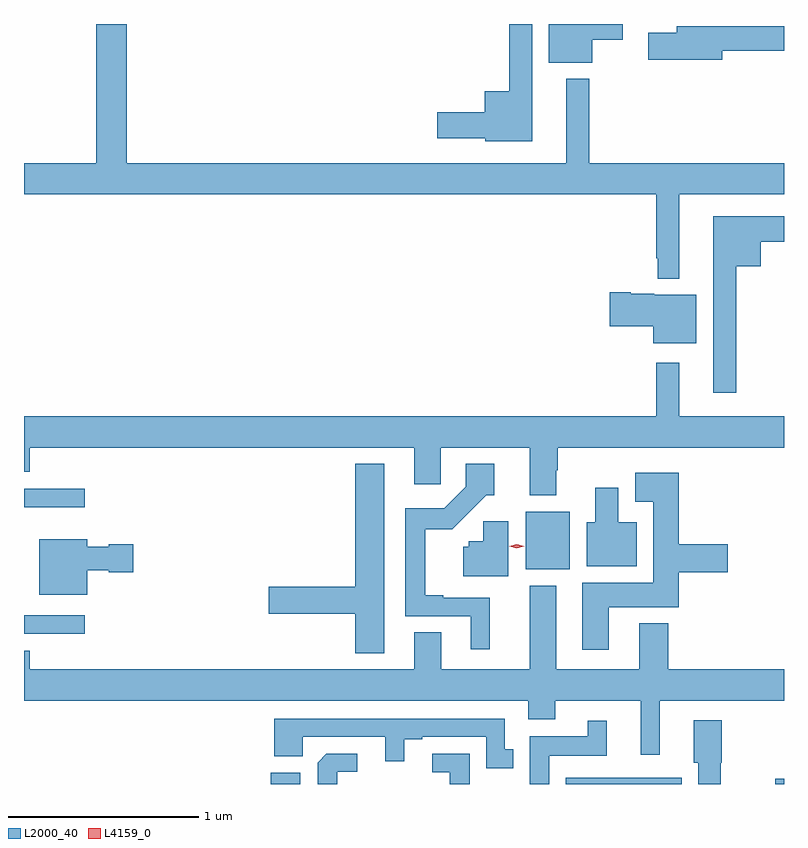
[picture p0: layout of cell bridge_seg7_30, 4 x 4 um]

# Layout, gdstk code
import gdstk
lib = gdstk.Library(unit=1e-6, precision=1e-09)
def R(c, l, rs):  # rectangles x0, y0, x1, y1
    for r in rs: c.add(gdstk.rectangle(r[:2], r[2:], *l))
def P(c, l, *ps):  # polygons
    for p in ps: c.add(gdstk.Polygon(p, *l))
L2000_40 = (2000, 40)
L4159_0 = (4159, 0)

bridge_seg7_30 = lib.new_cell('bridge_seg7_30')
R(bridge_seg7_30, L2000_40, [(972.095,1057.453,972.25,1057.513), (973.646,1057.453,974.257,1057.486), (974.749,1057.453,974.796,1057.48), (970.796,1058.243,971.116,1058.34), (973.436,1058.582,973.669,1058.887), (970.796,1058.909,971.116,1059.006)])
P(bridge_seg7_30, L2000_40, [(974.245,1060.556),(974.796,1060.556),(974.796,1060.72),(973.771,1060.72),(973.771,1061.164),(973.649,1061.164),(973.649,1060.72),(971.336,1060.72),(971.336,1061.453),(971.176,1061.453),(971.176,1060.72),(970.796,1060.72),(970.796,1060.556),(974.124,1060.556),(974.124,1060.219),(974.131,1060.219),(974.131,1060.112),(974.245,1060.112)],
  [(973.786,1061.369),(973.948,1061.369),(973.948,1061.453),(973.559,1061.453),(973.559,1061.249),(973.786,1061.249)],
  [(973.471,1061.453),(973.35,1061.453),(973.35,1061.098),(973.22,1061.098),(973.22,1060.988),(972.972,1060.988),(972.972,1060.853),(973.224,1060.853),(973.224,1060.835),(973.471,1060.835)],
  [(974.47,1061.311),(974.796,1061.311),(974.796,1061.44),(974.231,1061.44),(974.231,1061.406),(974.082,1061.406),(974.082,1061.264),(974.47,1061.264)],
  [(974.545,1060.178),(974.674,1060.178),(974.674,1060.307),(974.796,1060.307),(974.796,1060.441),(974.423,1060.441),(974.423,1059.513),(974.545,1059.513)],
  [(974.335,1060.027),(974.112,1060.027),(974.112,1060.033),(973.99,1060.033),(973.99,1060.04),(973.878,1060.04),(973.878,1059.862),(974.108,1059.862),(974.108,1059.773),(974.335,1059.773)],
  [(973.597,1059.104),(973.605,1059.104),(973.605,1059.224),(974.796,1059.224),(974.796,1059.388),(974.245,1059.388),(974.245,1059.67),(974.124,1059.67),(974.124,1059.388),(970.796,1059.388),(970.796,1059.096),(970.825,1059.096),(970.825,1059.224),(972.851,1059.224),(972.851,1059.03),(972.99,1059.03),(972.99,1059.224),(973.457,1059.224),(973.457,1058.972),(973.597,1058.972)],
  [(972.691,1059.139),(972.539,1059.139),(972.539,1058.492),(972.084,1058.492),(972.084,1058.35),(972.539,1058.35),(972.539,1058.141),(972.691,1058.141)],
  [(973.247,1058.433),(973.003,1058.433),(973.003,1058.446),(972.907,1058.446),(972.907,1058.795),(973.051,1058.795),(973.229,1058.972),(973.27,1058.972),(973.27,1059.139),(973.122,1059.139),(973.122,1059.018),(973.008,1058.904),(972.803,1058.904),(972.803,1058.337),(973.148,1058.337),(973.148,1058.163),(973.247,1058.163)],
  [(973.873,1058.384),(974.243,1058.384),(974.243,1058.567),(974.5,1058.567),(974.5,1058.714),(974.243,1058.714),(974.243,1059.091),(974.013,1059.091),(974.013,1058.939),(974.108,1058.939),(974.108,1058.512),(973.733,1058.512),(973.733,1058.16),(973.873,1058.16)],
  [(974.02,1058.83),(973.924,1058.83),(973.924,1059.013),(973.802,1059.013),(973.802,1058.83),(973.757,1058.83),(973.757,1058.6),(974.02,1058.6)],
  [(973.345,1058.835),(973.213,1058.835),(973.213,1058.73),(973.137,1058.73),(973.137,1058.703),(973.109,1058.703),(973.109,1058.546),(973.345,1058.546)],
  [(971.128,1058.579),(971.241,1058.579),(971.241,1058.567),(971.371,1058.567),(971.371,1058.714),(971.241,1058.714),(971.241,1058.701),(971.128,1058.701),(971.128,1058.74),(970.877,1058.74),(970.877,1058.45),(971.128,1058.45)],
  [(974.141,1057.892),(974.796,1057.892),(974.796,1058.056),(974.186,1058.056),(974.186,1058.299),(974.033,1058.299),(974.033,1058.056),(973.597,1058.056),(973.597,1058.497),(973.457,1058.497),(973.457,1058.056),(972.991,1058.056),(972.991,1058.251),(972.851,1058.251),(972.851,1058.056),(970.826,1058.056),(970.826,1058.154),(970.796,1058.154),(970.796,1057.892),(973.451,1057.892),(973.451,1057.793),(973.591,1057.793),(973.591,1057.892),(974.042,1057.892),(974.042,1057.608),(974.141,1057.608)],
  [(973.372,1057.635),(973.326,1057.635),(973.326,1057.797),(972.113,1057.797),(972.113,1057.598),(972.264,1057.598),(972.264,1057.701),(972.698,1057.701),(972.698,1057.572),(972.796,1057.572),(972.796,1057.689),(972.892,1057.689),(972.892,1057.701),(973.23,1057.701),(973.23,1057.535),(973.372,1057.535)],
  [(974.463,1057.566),(974.468,1057.566),(974.468,1057.789),(974.321,1057.789),(974.321,1057.566),(974.345,1057.566),(974.345,1057.453),(974.463,1057.453)],
  [(973.561,1057.601),(973.862,1057.601),(973.862,1057.786),(973.763,1057.786),(973.763,1057.705),(973.457,1057.705),(973.457,1057.453),(973.561,1057.453)],
  [(973.141,1057.611),(972.945,1057.611),(972.945,1057.515),(973.037,1057.515),(973.037,1057.453),(973.141,1057.453)],
  [(972.445,1057.518),(972.55,1057.518),(972.55,1057.611),(972.388,1057.611),(972.342,1057.565),(972.342,1057.454),(972.341,1057.454),(972.341,1057.453),(972.445,1057.453)])
P(bridge_seg7_30, L4159_0, [(973.39,1058.694),(973.349,1058.704),(973.349,1058.704),(973.349,1058.705),(973.39,1058.714),(973.43,1058.705),(973.43,1058.704),(973.43,1058.704)])

lib.write_gds('bridge_seg7_30.gds')
